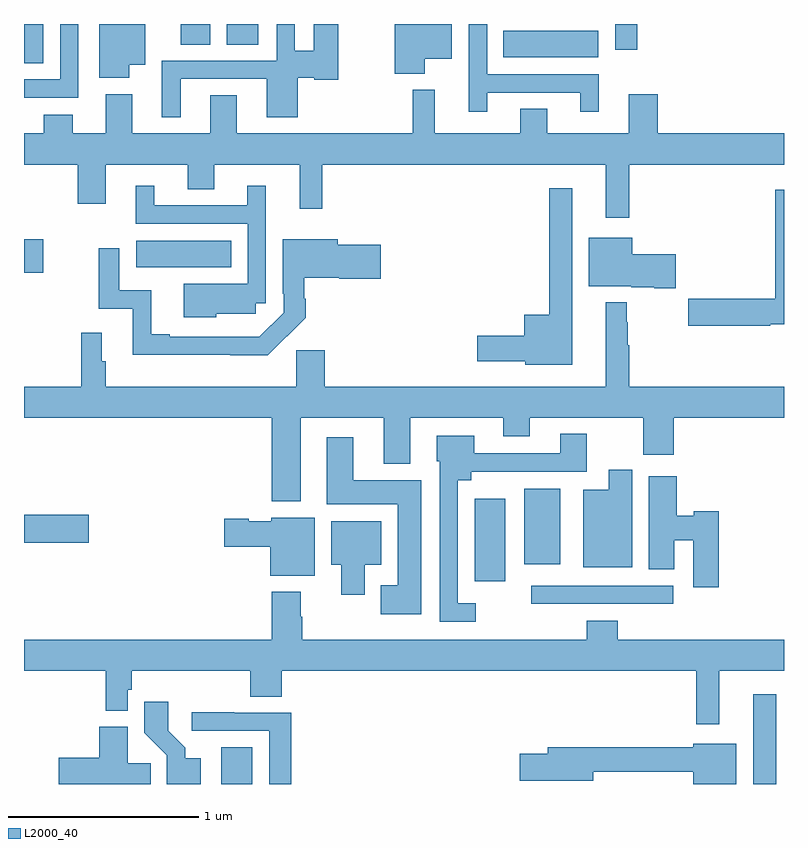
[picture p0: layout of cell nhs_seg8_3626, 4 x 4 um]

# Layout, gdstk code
import gdstk
lib = gdstk.Library(unit=1e-6, precision=1e-09)
def R(c, l, rs):  # rectangles x0, y0, x1, y1
    for r in rs: c.add(gdstk.rectangle(r[:2], r[2:], *l))
def P(c, l, *ps):  # polygons
    for p in ps: c.add(gdstk.Polygon(p, *l))
L2000_40 = (2000, 40)

nhs_seg8_3626 = lib.new_cell('nhs_seg8_3626')
R(nhs_seg8_3626, L2000_40, [(336.038,1119.9,336.202,1120.094), (338.837,1119.9,338.959,1120.372), (337.671,1120.848,338.416,1120.944), (337.373,1120.968,337.534,1121.401), (337.634,1121.057,337.822,1121.455), (335,1121.171,335.341,1121.318), (335,1122.59,335.101,1122.768), (335.592,1122.62,336.092,1122.76), (335,1123.693,335.101,1123.9), (337.522,1123.724,338.023,1123.864), (338.112,1123.764,338.228,1123.9), (335.825,1123.792,335.98,1123.9), (336.068,1123.792,336.232,1123.9)])
P(nhs_seg8_3626, L2000_40, [(337.108,1123.718),(337.251,1123.718),(337.251,1123.9),(336.95,1123.9),(336.95,1123.639),(337.108,1123.639)],
  [(335.554,1123.685),(335.638,1123.685),(335.638,1123.9),(335.396,1123.9),(335.396,1123.617),(335.554,1123.617)],
  [(335.824,1123.611),(336.278,1123.611),(336.278,1123.41),(336.44,1123.41),(336.44,1123.618),(336.528,1123.618),(336.528,1123.607),(336.654,1123.607),(336.654,1123.9),(336.524,1123.9),(336.524,1123.76),(336.426,1123.76),(336.426,1123.9),(336.33,1123.9),(336.33,1123.707),(335.726,1123.707),(335.726,1123.41),(335.824,1123.41)],
  [(337.438,1123.539),(337.928,1123.539),(337.928,1123.437),(338.026,1123.437),(338.026,1123.635),(337.437,1123.635),(337.437,1123.9),(337.341,1123.9),(337.341,1123.437),(337.438,1123.437)],
  [(335.021,1123.512),(335.286,1123.512),(335.286,1123.9),(335.19,1123.9),(335.19,1123.608),(335,1123.608),(335,1123.511),(335.021,1123.511)],
  [(338.185,1123.16),(339,1123.16),(339,1123.324),(338.336,1123.324),(338.336,1123.531),(338.183,1123.531),(338.183,1123.324),(337.753,1123.324),(337.753,1123.454),(337.613,1123.454),(337.613,1123.324),(337.163,1123.324),(337.163,1123.554),(337.045,1123.554),(337.045,1123.324),(336.121,1123.324),(336.121,1123.526),(335.981,1123.526),(335.981,1123.324),(335.569,1123.324),(335.569,1123.531),(335.429,1123.531),(335.429,1123.324),(335.257,1123.324),(335.257,1123.423),(335.105,1123.423),(335.105,1123.324),(335,1123.324),(335,1123.16),(335.284,1123.16),(335.284,1122.954),(335.431,1122.954),(335.431,1123.16),(335.861,1123.16),(335.861,1123.03),(336.001,1123.03),(336.001,1123.16),(336.452,1123.16),(336.452,1122.927),(336.569,1122.927),(336.569,1123.16),(338.063,1123.16),(338.063,1122.879),(338.185,1122.879)],
  [(336.012,1122.374),(336.219,1122.374),(336.219,1122.429),(336.273,1122.429),(336.273,1123.048),(336.176,1123.048),(336.176,1122.945),(335.686,1122.945),(335.686,1123.048),(335.588,1123.048),(335.588,1122.849),(336.177,1122.849),(336.177,1122.532),(335.84,1122.532),(335.84,1122.356),(336.012,1122.356)],
  [(337.885,1123.036),(337.764,1123.036),(337.764,1122.37),(337.634,1122.37),(337.634,1122.26),(337.386,1122.26),(337.386,1122.125),(337.638,1122.125),(337.638,1122.107),(337.885,1122.107)],
  [(338.927,1122.32),(339,1122.32),(339,1123.027),(338.954,1123.027),(338.954,1122.455),(338.608,1122.455),(338.608,1122.454),(338.496,1122.454),(338.496,1122.313),(338.927,1122.313)],
  [(338.431,1122.687),(338.2,1122.687),(338.2,1122.775),(337.973,1122.775),(337.973,1122.521),(338.196,1122.521),(338.196,1122.514),(338.318,1122.514),(338.318,1122.509),(338.431,1122.509)],
  [(336.482,1122.353),(336.482,1122.455),(336.475,1122.455),(336.475,1122.565),(336.66,1122.565),(336.66,1122.56),(336.877,1122.56),(336.877,1122.738),(336.652,1122.738),(336.652,1122.766),(336.363,1122.766),(336.363,1122.481),(336.366,1122.481),(336.366,1122.381),(336.238,1122.253),(336.137,1122.253),(336.137,1122.255),(335.767,1122.255),(335.767,1122.268),(335.671,1122.268),(335.671,1122.498),(335.502,1122.498),(335.502,1122.721),(335.394,1122.721),(335.394,1122.402),(335.573,1122.402),(335.573,1122.158),(336.085,1122.158),(336.085,1122.156),(336.284,1122.156)],
  [(338.173,1122.329),(338.173,1122.436),(338.063,1122.436),(338.063,1121.992),(336.584,1121.992),(336.584,1122.183),(336.433,1122.183),(336.433,1121.992),(335.429,1121.992),(335.429,1122.125),(335.41,1122.125),(335.41,1122.274),(335.301,1122.274),(335.301,1121.992),(335,1121.992),(335,1121.828),(336.305,1121.828),(336.305,1121.387),(336.457,1121.387),(336.457,1121.828),(336.893,1121.828),(336.893,1121.585),(337.033,1121.585),(337.033,1121.828),(337.523,1121.828),(337.523,1121.729),(337.663,1121.729),(337.663,1121.828),(338.26,1121.828),(338.26,1121.634),(338.42,1121.634),(338.42,1121.828),(339,1121.828),(339,1121.992),(338.185,1121.992),(338.185,1122.209),(338.177,1122.209),(338.177,1122.329)],
  [(337.378,1120.851),(337.284,1120.851),(337.284,1121.498),(337.354,1121.498),(337.354,1121.544),(337.963,1121.544),(337.963,1121.743),(337.823,1121.743),(337.823,1121.64),(337.369,1121.64),(337.369,1121.734),(337.172,1121.734),(337.172,1121.598),(337.188,1121.598),(337.188,1120.755),(337.378,1120.755)],
  [(337.09,1121.5),(336.733,1121.5),(336.733,1121.725),(336.593,1121.725),(336.593,1121.372),(336.968,1121.372),(336.968,1120.945),(336.878,1120.945),(336.878,1120.793),(337.09,1120.793)],
  [(338.2,1121.554),(338.078,1121.554),(338.078,1121.449),(337.943,1121.449),(337.943,1121.042),(338.2,1121.042)],
  [(338.657,1121.336),(338.526,1121.336),(338.526,1121.313),(338.435,1121.313),(338.435,1121.521),(338.288,1121.521),(338.288,1121.029),(338.422,1121.029),(338.422,1121.183),(338.522,1121.183),(338.522,1120.935),(338.657,1120.935)],
  [(336.529,1121.302),(336.3,1121.302),(336.3,1121.284),(336.183,1121.284),(336.183,1121.297),(336.054,1121.297),(336.054,1121.15),(336.296,1121.15),(336.296,1120.997),(336.529,1120.997)],
  [(336.793,1121.054),(336.88,1121.054),(336.88,1121.284),(336.617,1121.284),(336.617,1121.054),(336.671,1121.054),(336.671,1120.896),(336.793,1120.896)],
  [(338.659,1120.496),(339,1120.496),(339,1120.66),(338.126,1120.66),(338.126,1120.759),(337.961,1120.759),(337.961,1120.66),(336.465,1120.66),(336.465,1120.781),(336.457,1120.781),(336.457,1120.912),(336.305,1120.912),(336.305,1120.66),(335,1120.66),(335,1120.496),(335.431,1120.496),(335.431,1120.286),(335.547,1120.286),(335.547,1120.395),(335.567,1120.395),(335.567,1120.496),(336.191,1120.496),(336.191,1120.36),(336.356,1120.36),(336.356,1120.496),(338.538,1120.496),(338.538,1120.215),(338.659,1120.215)],
  [(335.929,1120.036),(335.848,1120.036),(335.848,1120.091),(335.758,1120.181),(335.758,1120.333),(335.632,1120.333),(335.632,1120.17),(335.751,1120.051),(335.751,1119.9),(335.929,1119.9)],
  [(336.407,1120.275),(336.107,1120.275),(336.107,1120.278),(335.883,1120.278),(335.883,1120.179),(336.291,1120.179),(336.291,1119.9),(336.407,1119.9)],
  [(335.666,1120.01),(335.545,1120.01),(335.545,1120.201),(335.396,1120.201),(335.396,1120.038),(335.184,1120.038),(335.184,1119.9),(335.666,1119.9)],
  [(338.749,1120.111),(338.522,1120.111),(338.522,1120.093),(337.757,1120.093),(337.757,1120.059),(337.608,1120.059),(337.608,1119.917),(337.996,1119.917),(337.996,1119.964),(338.522,1119.964),(338.522,1119.9),(338.749,1119.9)])

lib.write_gds('nhs_seg8_3626.gds')
